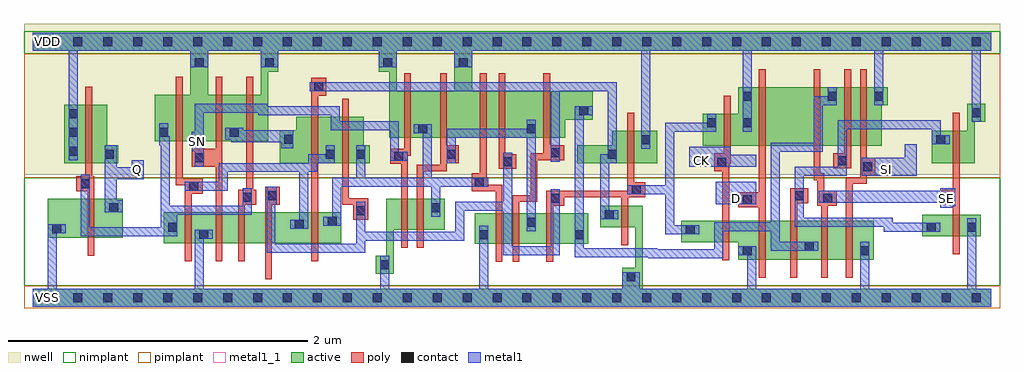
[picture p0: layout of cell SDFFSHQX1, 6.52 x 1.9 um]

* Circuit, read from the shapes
.subckt SDFFSHQX1 CK D Q SE SI SN VDD VSS
M1 Q n1 VSS VSS nfet w=0.26u l=0.045u
M2 VSS n2 n1 VSS nfet w=0.205u l=0.045u
M3 n3 SN VSS VSS nfet w=0.205u l=0.045u
M4 n4 n1 n3 VSS nfet w=0.205u l=0.045u
M5 n2 n5 n4 VSS nfet w=0.205u l=0.045u
M6 n6 n7 n2 VSS nfet w=0.205u l=0.045u
M7 n8 SN VSS VSS nfet w=0.205u l=0.045u
M8 n6 n9 n8 VSS nfet w=0.205u l=0.045u
M9 n10 n6 VSS VSS nfet w=0.205u l=0.045u
M10 n9 n7 n10 VSS nfet w=0.205u l=0.045u
M11 n11 n5 n9 VSS nfet w=0.205u l=0.045u
M12 VSS n5 n7 VSS nfet w=0.145u l=0.045u
M13 VSS CK n5 VSS nfet w=0.145u l=0.045u
M14 n12 D VSS VSS nfet w=0.26u l=0.045u
M15 n11 n13 n12 VSS nfet w=0.26u l=0.045u
M16 n14 SE n11 VSS nfet w=0.26u l=0.045u
M17 VSS SI n14 VSS nfet w=0.26u l=0.045u
M18 VSS SE n13 VSS nfet w=0.145u l=0.045u
M19 Q n1 VDD VDD pfet w=0.39u l=0.045u
M20 VDD n2 n1 VDD pfet w=0.31u l=0.045u
M21 n15 SN VDD VDD pfet w=0.31u l=0.045u
M22 VDD n1 n15 VDD pfet w=0.31u l=0.045u
M23 n2 n7 n15 VDD pfet w=0.31u l=0.045u
M24 n6 n5 n2 VDD pfet w=0.31u l=0.045u
M25 n6 SN VDD VDD pfet w=0.31u l=0.045u
M26 VDD n9 n6 VDD pfet w=0.31u l=0.045u
M27 n16 n6 VDD VDD pfet w=0.31u l=0.045u
M28 n9 n5 n16 VDD pfet w=0.31u l=0.045u
M29 n11 n7 n9 VDD pfet w=0.31u l=0.045u
M30 VDD n5 n7 VDD pfet w=0.215u l=0.045u
M31 VDD CK n5 VDD pfet w=0.215u l=0.045u
M32 n17 D VDD VDD pfet w=0.39u l=0.045u
M33 n11 SE n17 VDD pfet w=0.39u l=0.045u
M34 n18 n13 n11 VDD pfet w=0.39u l=0.045u
M35 VDD SI n18 VDD pfet w=0.39u l=0.045u
M36 VDD SE n13 VDD pfet w=0.215u l=0.045u
.ends

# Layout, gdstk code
import gdstk
lib = gdstk.Library(unit=1e-6, precision=5e-10)
def R(c, l, rs):  # rectangles x0, y0, x1, y1
    for r in rs: c.add(gdstk.rectangle(r[:2], r[2:], *l))
def A(c, l, x, y, w, h, nx, ny, dx, dy):  # array of equal rectangles
    R(c, l, [(x+i*dx, y+j*dy, x+i*dx+w, y+j*dy+h) for i in range(nx) for j in range(ny)])
def P(c, l, *ps):  # polygons
    for p in ps: c.add(gdstk.Polygon(p, *l))
active = (1, 0)
nwell = (2, 0)
poly = (3, 0)
nimplant = (4, 0)
pimplant = (5, 0)
contact = (6, 0)
metal1 = (7, 0)
metal1_1 = (7, 1)

sdffshqx1 = lib.new_cell('SDFFSHQX1')
R(sdffshqx1, active, [(2.95,0.36,3.71,0.565), (0.875,0.365,2.06,0.57), (0.1,0.4,0.6,0.66), (5.94,0.41,6.33,0.555)])
P(sdffshqx1, active, [(0,1.77),(6.4,1.77),(6.4,1.65),(2.935,1.65),(2.935,1.38),(3.74,1.38),(3.74,1.19),(3.555,1.19),(3.555,1.07),(2.38,1.07),(2.38,1.51),(2.31,1.51),(2.31,1.65),(2.43,1.65),(2.43,1.38),(2.815,1.38),(2.815,1.65),(1.64,1.65),(1.64,1.51),(1.57,1.51),(1.57,1.045),(0.815,1.045),(0.815,1.355),(1.05,1.355),(1.05,1.65),(1.17,1.65),(1.17,1.355),(1.52,1.355),(1.52,1.65),(0,1.65)],
  [(0.21,1.29),(0.495,1.29),(0.495,1.02),(0.57,1.02),(0.57,0.9),(0.21,0.9)],
  [(1.76,1.21),(2.21,1.21),(2.21,1.02),(2.25,1.02),(2.25,0.9),(1.65,0.9),(1.65,1.12),(1.76,1.12)],
  [(4.71,1.405),(5.71,1.405),(5.71,1.285),(5.67,1.285),(5.67,1.015),(4.475,1.015),(4.475,1.23),(4.71,1.23)],
  [(3.87,1.115),(4.17,1.115),(4.17,0.9),(3.635,0.9),(3.635,1.02),(3.87,1.02)],
  [(6.24,1.295),(6.36,1.295),(6.36,1.175),(6.29,1.175),(6.29,0.9),(6.005,0.9),(6.005,1.115),(6.24,1.115)],
  [(3.79,0.615),(4.075,0.615),(4.075,0.06),(6.4,0.06),(6.4,-0.06),(0,-0.06),(0,0.06),(3.935,0.06),(3.935,0.2),(4.025,0.2),(4.025,0.47),(3.79,0.47)],
  [(2.36,0.66),(2.75,0.66),(2.75,0.455),(2.41,0.455),(2.41,0.16),(2.29,0.16),(2.29,0.28),(2.36,0.28)],
  [(4.33,0.515),(5.615,0.515),(5.615,0.255),(4.71,0.255),(4.71,0.37),(4.33,0.37)])
R(sdffshqx1, nwell, [(-0.06,0.82,6.46,1.83)])
P(sdffshqx1, poly, [(0.955,1.475),(1,1.475),(1,0.795),(1.135,0.795),(1.135,0.695),(1.06,0.695),(1.06,0.245),(1.015,0.245),(1.015,0.75),(0.955,0.75)],
  [(1.22,1.475),(1.265,1.475),(1.265,0.245),(1.22,0.245),(1.22,0.875),(1.06,0.875),(1.06,0.995),(1.22,0.995)],
  [(1.425,1.475),(1.47,1.475),(1.47,0.72),(1.49,0.72),(1.49,0.62),(1.415,0.62),(1.415,0.245),(1.37,0.245),(1.37,0.72),(1.425,0.72)],
  [(0.35,1.41),(0.395,1.41),(0.395,0.81),(0.41,0.81),(0.41,0.28),(0.365,0.28),(0.365,0.71),(0.29,0.71),(0.29,0.81),(0.35,0.81)],
  [(1.86,1.47),(1.96,1.47),(1.96,1.35),(1.905,1.35),(1.905,0.245),(1.86,0.245)],
  [(2.48,1.5),(2.525,1.5),(2.525,0.95),(2.505,0.95),(2.505,0.335),(2.46,0.335),(2.46,0.895),(2.385,0.895),(2.385,0.995),(2.48,0.995)],
  [(2.72,1.5),(2.765,1.5),(2.765,1.02),(2.845,1.02),(2.845,0.9),(2.765,0.9),(2.765,0.845),(2.61,0.845),(2.61,0.335),(2.565,0.335),(2.565,0.89),(2.72,0.89)],
  [(2.985,1.5),(3.03,1.5),(3.03,0.755),(3.135,0.755),(3.135,0.24),(3.09,0.24),(3.09,0.71),(2.93,0.71),(2.93,0.83),(2.985,0.83)],
  [(3.11,1.5),(3.155,1.5),(3.155,0.96),(3.23,0.96),(3.23,0.86),(3.11,0.86)],
  [(3.41,1.5),(3.455,1.5),(3.455,1.02),(3.55,1.02),(3.55,0.92),(3.37,0.92),(3.37,0.64),(3.25,0.64),(3.25,0.24),(3.205,0.24),(3.205,0.685),(3.325,0.685),(3.325,0.965),(3.41,0.965)],
  [(4.85,1.525),(4.895,1.525),(4.895,0.135),(4.85,0.135),(4.85,0.605),(4.71,0.605),(4.71,0.705),(4.85,0.705)],
  [(5.215,1.525),(5.26,1.525),(5.26,0.83),(5.285,0.83),(5.285,0.715),(5.37,0.715),(5.37,0.615),(5.31,0.615),(5.31,0.135),(5.265,0.135),(5.265,0.615),(5.24,0.615),(5.24,0.785),(5.215,0.785)],
  [(5.42,1.525),(5.465,1.525),(5.465,0.865),(5.345,0.865),(5.345,0.965),(5.42,0.965)],
  [(5.525,1.525),(5.57,1.525),(5.57,0.935),(5.625,0.935),(5.625,0.815),(5.57,0.815),(5.57,0.76),(5.475,0.76),(5.475,0.135),(5.43,0.135),(5.43,0.805),(5.525,0.805)],
  [(2.065,1.33),(2.11,1.33),(2.11,0.665),(2.24,0.665),(2.24,0.52),(2.14,0.52),(2.14,0.62),(2.065,0.62)],
  [(4.615,1.35),(4.66,1.35),(4.66,0.895),(4.65,0.895),(4.65,0.25),(4.605,0.25),(4.605,0.845),(4.55,0.845),(4.55,0.965),(4.615,0.965)],
  [(3.97,1.235),(4.015,1.235),(4.015,0.77),(4.09,0.77),(4.09,0.67),(3.975,0.67),(3.975,0.35),(3.93,0.35),(3.93,0.67),(3.55,0.67),(3.55,0.615),(3.475,0.615),(3.475,0.24),(3.43,0.24),(3.43,0.715),(3.97,0.715)],
  [(6.145,1.235),(6.19,1.235),(6.19,0.29),(6.145,0.29),(6.145,0.62),(6.07,0.62),(6.07,0.72),(6.145,0.72)],
  [(1.55,0.74),(1.65,0.74),(1.65,0.62),(1.595,0.62),(1.595,0.125),(1.55,0.125)],
  [(5.06,0.73),(5.18,0.73),(5.18,0.63),(5.105,0.63),(5.105,0.135),(5.06,0.135)])
R(sdffshqx1, nimplant, [(-0.06,0.08,6.46,0.8), (-0.06,1.63,6.46,1.78)])
R(sdffshqx1, pimplant, [(-0.06,-0.07,6.46,0.08), (-0.06,0.8,6.46,1.63)])
A(sdffshqx1, contact, 0.07, -0.03, 0.06, 0.06, 32, 2, 0.2, 1.71)
A(sdffshqx1, contact, 0.24, 0.95, 0.06, 0.06, 1, 3, 0, 0.125)
R(sdffshqx1, contact, [(3.965,0.11,4.025,0.17), (2.32,0.19,2.38,0.25), (4.74,0.285,4.8,0.345), (5.525,0.285,5.585,0.345), (5.155,0.315,5.215,0.375), (2.98,0.39,3.04,0.45), (3.62,0.39,3.68,0.45), (1.11,0.395,1.17,0.455), (4.36,0.425,4.42,0.485), (0.13,0.43,0.19,0.49), (0.905,0.44,0.965,0.5), (5.97,0.44,6.03,0.5), (6.24,0.44,6.3,0.5), (1.75,0.46,1.81,0.52), (3.3,0.475,3.36,0.535), (1.97,0.48,2.03,0.54), (3.82,0.525,3.88,0.585), (2.16,0.55,2.22,0.61), (0.51,0.57,0.57,0.63), (2.66,0.57,2.72,0.63), (4.74,0.625,4.8,0.685), (3.46,0.635,3.52,0.695), (5.28,0.635,5.34,0.695), (1.4,0.64,1.46,0.7), (6.1,0.64,6.16,0.7), (1.57,0.65,1.63,0.71), (5.09,0.65,5.15,0.71), (4,0.69,4.06,0.75), (1.045,0.715,1.105,0.775), (0.32,0.73,0.38,0.79), (2.95,0.74,3.01,0.8), (5.545,0.845,5.605,0.905), (4.57,0.875,4.63,0.935), (3.14,0.88,3.2,0.94), (5.375,0.885,5.435,0.945), (1.08,0.905,1.14,0.965), (2.415,0.915,2.475,0.975), (0.48,0.93,0.54,0.99), (1.955,0.93,2.015,0.99), (2.16,0.93,2.22,0.99), (2.765,0.93,2.825,0.99), (3.84,0.93,3.9,0.99), (3.46,0.94,3.52,1), (4.065,1.025,4.125,1.085), (6.035,1.025,6.095,1.085), (1.68,1.03,1.74,1.09), (0.845,1.075,0.905,1.135), (1.315,1.075,1.375,1.135), (2.575,1.1,2.635,1.16), (3.3,1.1,3.36,1.16), (4.505,1.14,4.565,1.2), (4.74,1.14,4.8,1.2), (6.27,1.205,6.33,1.265), (3.65,1.22,3.71,1.28), (4.74,1.315,4.8,1.375), (5.31,1.315,5.37,1.375), (5.62,1.315,5.68,1.375), (1.88,1.38,1.94,1.44), (1.08,1.54,1.14,1.6), (1.55,1.54,1.61,1.6), (2.34,1.54,2.4,1.6), (2.845,1.54,2.905,1.6)])
R(sdffshqx1, metal1, [(4.56,0.625,4.83,0.775)])
P(sdffshqx1, metal1, [(0,1.77),(6.4,1.77),(6.4,1.65),(6.33,1.65),(6.33,1.175),(6.27,1.175),(6.27,1.65),(5.68,1.65),(5.68,1.285),(5.62,1.285),(5.62,1.65),(4.8,1.65),(4.8,1.11),(4.74,1.11),(4.74,1.65),(4.125,1.65),(4.125,0.995),(4.065,0.995),(4.065,1.65),(2.935,1.65),(2.935,1.54),(2.815,1.54),(2.815,1.65),(2.43,1.65),(2.43,1.54),(2.31,1.54),(2.31,1.65),(1.64,1.65),(1.64,1.54),(1.52,1.54),(1.52,1.65),(1.17,1.65),(1.17,1.54),(1.05,1.54),(1.05,1.65),(0.3,1.65),(0.3,0.92),(0.24,0.92),(0.24,1.65),(0,1.65)],
  [(0.845,1.165),(0.905,1.165),(0.905,1.08),(0.915,1.08),(0.915,0.615),(1.4,0.615),(1.4,0.73),(1.46,0.73),(1.46,0.555),(0.965,0.555),(0.965,0.41),(0.32,0.41),(0.32,0.82),(0.38,0.82),(0.38,0.47),(0.855,0.47),(0.855,1.02),(0.845,1.02)],
  [(1.85,1.44),(3.9,1.44),(3.9,0.9),(3.85,0.9),(3.85,0.585),(3.91,0.585),(3.91,0.525),(3.79,0.525),(3.79,0.96),(3.84,0.96),(3.84,1.38),(3.52,1.38),(3.52,0.91),(3.46,0.91),(3.46,1.38),(1.85,1.38)],
  [(1.08,1.295),(1.565,1.295),(1.565,1.28),(2.05,1.28),(2.05,1.18),(2.445,1.18),(2.445,0.975),(2.505,0.975),(2.505,0.915),(2.385,0.915),(2.385,1.12),(1.99,1.12),(1.99,1.22),(1.505,1.22),(1.505,1.235),(1.14,1.235),(1.14,0.875),(1.08,0.875),(1.08,0.98),(1.06,0.98),(1.06,1.11),(1.08,1.11)],
  [(3.3,1.19),(3.36,1.19),(3.36,0.445),(3.3,0.445),(3.3,1.07),(2.825,1.07),(2.825,0.9),(2.765,0.9),(2.765,1.13),(3.3,1.13)],
  [(1.285,1.135),(1.405,1.135),(1.405,1.12),(1.74,1.12),(1.74,1),(1.66,1),(1.66,1.04),(1.325,1.04),(1.325,1.055),(1.285,1.055)],
  [(2.545,1.16),(2.665,1.16),(2.665,0.8),(3.04,0.8),(3.04,0.74),(2.72,0.74),(2.72,0.54),(2.66,0.54),(2.66,0.74),(2.06,0.74),(2.06,0.48),(1.94,0.48),(1.94,0.54),(2,0.54),(2,0.8),(2.16,0.8),(2.16,1.02),(2.22,1.02),(2.22,0.8),(2.605,0.8),(2.605,1.1),(2.545,1.1)],
  [(0.48,1.02),(0.56,1.02),(0.56,0.87),(0.66,0.87),(0.66,0.92),(0.74,0.92),(0.74,0.79),(0.56,0.79),(0.56,0.65),(0.6,0.65),(0.6,0.57),(0.48,0.57)],
  [(0.1,0.49),(0.22,0.49),(0.22,0.43),(0.16,0.43),(0.16,0.06),(1.08,0.06),(1.08,0.455),(1.2,0.455),(1.2,0.395),(1.14,0.395),(1.14,0.06),(2.32,0.06),(2.32,0.28),(2.38,0.28),(2.38,0.06),(2.98,0.06),(2.98,0.48),(3.04,0.48),(3.04,0.06),(3.935,0.06),(3.935,0.17),(4.055,0.17),(4.055,0.06),(4.77,0.06),(4.77,0.285),(4.71,0.285),(4.71,0.345),(4.83,0.345),(4.83,0.06),(5.525,0.06),(5.525,0.375),(5.585,0.375),(5.585,0.06),(6.24,0.06),(6.24,0.53),(6.3,0.53),(6.3,0.06),(6.4,0.06),(6.4,-0.06),(0,-0.06),(0,0.06),(0.1,0.06)],
  [(1.955,1.02),(2.015,1.02),(2.015,0.9),(1.9,0.9),(1.9,0.84),(1.84,0.84),(1.84,0.46),(1.72,0.46),(1.72,0.52),(1.78,0.52),(1.78,0.84),(1.3,0.84),(1.3,0.715),(1.015,0.715),(1.015,0.775),(1.24,0.775),(1.24,0.9),(1.84,0.9),(1.84,0.96),(1.955,0.96)],
  [(1.56,0.74),(1.63,0.74),(1.63,0.62),(1.62,0.62),(1.62,0.36),(2.16,0.36),(2.16,0.64),(2.22,0.64),(2.22,0.44),(2.82,0.44),(2.82,0.64),(3.14,0.64),(3.14,0.97),(3.2,0.97),(3.2,0.345),(3.46,0.345),(3.46,0.725),(3.52,0.725),(3.52,0.285),(3.14,0.285),(3.14,0.58),(2.88,0.58),(2.88,0.38),(2.22,0.38),(2.22,0.3),(1.56,0.3)],
  [(5.31,1.405),(5.37,1.405),(5.37,1.285),(5.275,1.285),(5.275,0.975),(4.99,0.975),(4.99,0.375),(5.245,0.375),(5.245,0.315),(4.93,0.315),(4.93,0.445),(4.61,0.445),(4.61,0.265),(4.11,0.265),(4.11,0.27),(3.62,0.27),(3.62,1.28),(3.74,1.28),(3.74,1.22),(3.68,1.22),(3.68,0.33),(4.17,0.33),(4.17,0.325),(4.55,0.325),(4.55,0.505),(4.93,0.505),(4.93,1.035),(5.215,1.035),(5.215,1.345),(5.31,1.345)],
  [(4.505,1.23),(4.565,1.23),(4.565,1.11),(4.285,1.11),(4.285,0.485),(4.45,0.485),(4.45,0.425),(4.225,0.425),(4.225,0.69),(3.97,0.69),(3.97,0.75),(4.225,0.75),(4.225,1.17),(4.505,1.17)],
  [(5.375,1.185),(6.065,1.185),(6.065,1.085),(6.125,1.085),(6.125,1.025),(6.005,1.025),(6.005,1.125),(5.435,1.125),(5.435,0.815),(5.15,0.815),(5.15,0.535),(5.745,0.535),(5.745,0.5),(6.06,0.5),(6.06,0.44),(5.685,0.44),(5.685,0.475),(5.09,0.475),(5.09,0.875),(5.375,0.875)],
  [(4.385,1.01),(4.66,1.01),(4.66,0.955),(4.83,0.955),(4.83,0.875),(4.385,0.875)],
  [(5.825,1.025),(5.905,1.025),(5.905,0.815),(5.535,0.815),(5.535,0.935),(5.825,0.935)],
  [(6.06,0.73),(6.16,0.73),(6.16,0.61),(6.14,0.61),(6.14,0.6),(6.06,0.6),(6.06,0.635),(5.25,0.635),(5.25,0.715),(6.06,0.715)])
R(sdffshqx1, metal1_1, [(0.06,-0.04,0.14,0.04), (4.66,0.625,4.74,0.705), (6.06,0.625,6.14,0.705), (0.66,0.815,0.74,0.895), (5.66,0.815,5.74,0.895), (4.425,0.875,4.505,0.955), (1.06,1.005,1.14,1.085), (0.06,1.67,0.14,1.75)])
sdffshqx1.add(gdstk.Label('Q', (0.7,0.855), layer=7, texttype=1))
sdffshqx1.add(gdstk.Label('SE', (6.1,0.665), layer=7, texttype=1))
sdffshqx1.add(gdstk.Label('SI', (5.7,0.855), layer=7, texttype=1))
sdffshqx1.add(gdstk.Label('D', (4.7,0.665), layer=7, texttype=1))
sdffshqx1.add(gdstk.Label('CK', (4.465,0.915), layer=7, texttype=1))
sdffshqx1.add(gdstk.Label('SN', (1.1,1.045), layer=7, texttype=1))
sdffshqx1.add(gdstk.Label('VDD', (0.1,1.71), layer=7, texttype=1))
sdffshqx1.add(gdstk.Label('VSS', (0.1,0), layer=7, texttype=1))
sdffshqx1.add(gdstk.Label('SDFFSHQX1', (0,0), layer=63, texttype=0))

lib.write_gds('SDFFSHQX1.gds')
